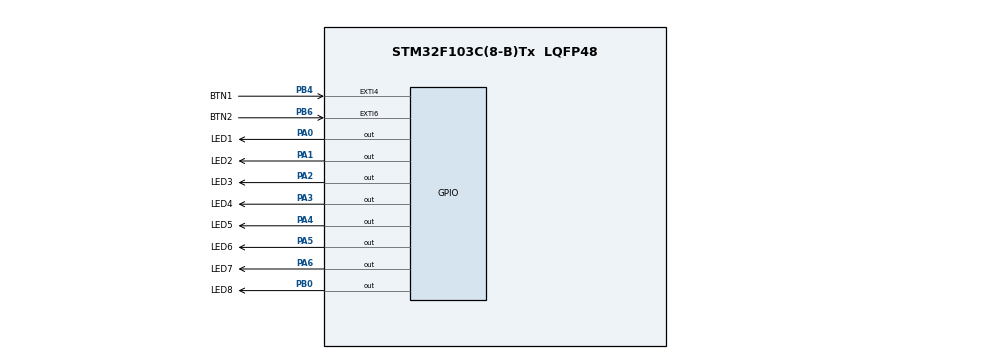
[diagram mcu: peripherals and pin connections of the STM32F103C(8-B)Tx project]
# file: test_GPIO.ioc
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Mcu.Family=STM32F1
Mcu.Name=STM32F103C(8-B)Tx
Mcu.Package=LQFP48
NVIC.EXTI4_IRQn=true\:0\:0\:false\:false\:true\:true\:true
NVIC.EXTI9_5_IRQn=true\:0\:0\:false\:false\:true\:true\:true
NVIC.PriorityGroup=NVIC_PRIORITYGROUP_4
PA0-WKUP.GPIO_Label=LED1
PA0-WKUP.Signal=GPIO_Output
PA1.GPIO_Label=LED2
PA1.Signal=GPIO_Output
PA13.Mode=Serial_Wire
PA13.Signal=SYS_JTMS-SWDIO
PA14.Mode=Serial_Wire
PA14.Signal=SYS_JTCK-SWCLK
PA2.GPIO_Label=LED3
PA2.Signal=GPIO_Output
PA3.GPIO_Label=LED4
PA3.Signal=GPIO_Output
PA4.GPIO_Label=LED5
PA4.Signal=GPIO_Output
PA5.GPIO_Label=LED6
PA5.Signal=GPIO_Output
PA6.GPIO_Label=LED7
PA6.Signal=GPIO_Output
PB0.GPIO_Label=LED8
PB0.Signal=GPIO_Output
PB4.GPIO_Label=BTN1
PB4.GPIO_ModeDefaultEXTI=GPIO_MODE_IT_FALLING
PB4.GPIO_PuPd=GPIO_PULLUP
PB4.Signal=GPXTI4
PB6.GPIO_Label=BTN2
PB6.GPIO_ModeDefaultEXTI=GPIO_MODE_IT_FALLING
PB6.GPIO_PuPd=GPIO_PULLUP
PB6.Signal=GPXTI6
ProjectManager.HeapSize=0x200
ProjectManager.StackSize=0x400
ProjectManager.TargetToolchain=STM32CubeIDE
RCC.APB1Freq_Value=8000000
RCC.APB2Freq_Value=8000000
board=custom

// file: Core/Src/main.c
/* USER CODE BEGIN Header */
/**
  ******************************************************************************
  * @file           : main.c
  * @brief          : Main program body
  ******************************************************************************
  * @attention
  *
  * <h2><center>&copy; Copyright (c) 2020 STMicroelectronics.
  * All rights reserved.</center></h2>
  *
  * This software component is licensed by ST under BSD 3-Clause license,
  * the "License"; You may not use this file except in compliance with the
  * License. You may obtain a copy of the License at:
  *                        opensource.org/licenses/BSD-3-Clause
  *
  ******************************************************************************
  */
/* USER CODE END Header */
#include "main.h"

/* USER CODE BEGIN PV */
uint8_t testpin;
/* USER CODE END PV */

void SystemClock_Config(void);
static void MX_GPIO_Init(void);
/* USER CODE BEGIN PFP */
// Chỗ này là private function prototype
// em sẽ b�? nguyên hàm-- là tên hàm thôi
void Effect_1(void);
void Effect_2(void);
/* USER CODE END PFP */

/* USER CODE BEGIN 0 */
// Chỗ này có thể viết hàm ra, hoặc là chỗ CODE USER 4 -- phần interrupt đó
/* USER CODE END 0 */

int main(void)
{
  /* USER CODE BEGIN 1 */
	MX_GPIO_Init();
  /* USER CODE END 1 */

  /* MCU Configuration--------------------------------------------------------*/

  /* Reset of all peripherals, Initializes the Flash interface and the Systick. */
  HAL_Init();

  /* Configure the system clock */
  SystemClock_Config();

  /* Initialize all configured peripherals */
  MX_GPIO_Init();

  /* Infinite loop */
  while (1)
  {

    /* USER CODE BEGIN 3 */
	  // Viet vao day moi khong mat
	  if(testpin ==0)
	  {
	  	  HAL_GPIO_TogglePin(LED1_GPIO_Port, LED1_Pin);
	  	  HAL_GPIO_TogglePin(LED2_GPIO_Port, LED2_Pin);
	  	  HAL_GPIO_TogglePin(LED3_GPIO_Port, LED3_Pin);
	  	  HAL_GPIO_TogglePin(LED4_GPIO_Port, LED4_Pin);
	  	  HAL_GPIO_TogglePin(LED5_GPIO_Port, LED5_Pin);
	  	  HAL_GPIO_TogglePin(LED6_GPIO_Port, LED6_Pin);
	  	  HAL_GPIO_TogglePin(LED7_GPIO_Port, LED7_Pin);
	  	  HAL_GPIO_TogglePin(LED8_GPIO_Port, LED8_Pin);
	  	  HAL_Delay(100);
	  }
	  if (testpin == 1)
	  {
		  //testpin = 0;
		  // hieu ung 1
		  Effect_1();
	  }
	  if (testpin == 2)
	  {
		  //testpin = 0;
		  // hieu ung 2
		  Effect_2();
	  }
  }
  /* USER CODE END 3 */
}

void SystemClock_Config(void)
{
  RCC_OscInitTypeDef RCC_OscInitStruct = {0};
  RCC_ClkInitTypeDef RCC_ClkInitStruct = {0};

  /** Initializes the RCC Oscillators according to the specified parameters
  * in the RCC_OscInitTypeDef structure.
  */
  RCC_OscInitStruct.OscillatorType = RCC_OSCILLATORTYPE_HSI;
  RCC_OscInitStruct.HSIState = RCC_HSI_ON;
  RCC_OscInitStruct.HSICalibrationValue = RCC_HSICALIBRATION_DEFAULT;
  RCC_OscInitStruct.PLL.PLLState = RCC_PLL_NONE;
  if (HAL_RCC_OscConfig(&RCC_OscInitStruct) != HAL_OK)
  {
    Error_Handler();
  }
  /** Initializes the CPU, AHB and APB buses clocks
  */
  RCC_ClkInitStruct.ClockType = RCC_CLOCKTYPE_HCLK|RCC_CLOCKTYPE_SYSCLK
                              |RCC_CLOCKTYPE_PCLK1|RCC_CLOCKTYPE_PCLK2;
  RCC_ClkInitStruct.SYSCLKSource = RCC_SYSCLKSOURCE_HSI;
  RCC_ClkInitStruct.AHBCLKDivider = RCC_SYSCLK_DIV1;
  RCC_ClkInitStruct.APB1CLKDivider = RCC_HCLK_DIV1;
  RCC_ClkInitStruct.APB2CLKDivider = RCC_HCLK_DIV1;

  if (HAL_RCC_ClockConfig(&RCC_ClkInitStruct, FLASH_LATENCY_0) != HAL_OK)
  {
    Error_Handler();
  }
}

static void MX_GPIO_Init(void)
{
  GPIO_InitTypeDef GPIO_InitStruct = {0};

  /* GPIO Ports Clock Enable */
  __HAL_RCC_GPIOA_CLK_ENABLE();
  __HAL_RCC_GPIOB_CLK_ENABLE();

  /*Configure GPIO pin Output Level */
  HAL_GPIO_WritePin(GPIOA, LED1_Pin|LED2_Pin|LED3_Pin|LED4_Pin
                          |LED5_Pin|LED6_Pin|LED7_Pin, GPIO_PIN_RESET);

  /*Configure GPIO pin Output Level */
  HAL_GPIO_WritePin(LED8_GPIO_Port, LED8_Pin, GPIO_PIN_RESET);

  /*Configure GPIO pins : LED1_Pin LED2_Pin LED3_Pin LED4_Pin
                           LED5_Pin LED6_Pin LED7_Pin */
  GPIO_InitStruct.Pin = LED1_Pin|LED2_Pin|LED3_Pin|LED4_Pin
                          |LED5_Pin|LED6_Pin|LED7_Pin;
  GPIO_InitStruct.Mode = GPIO_MODE_OUTPUT_PP;
  GPIO_InitStruct.Pull = GPIO_NOPULL;
  GPIO_InitStruct.Speed = GPIO_SPEED_FREQ_LOW;
  HAL_GPIO_Init(GPIOA, &GPIO_InitStruct);

  /*Configure GPIO pin : LED8_Pin */
  GPIO_InitStruct.Pin = LED8_Pin;
  GPIO_InitStruct.Mode = GPIO_MODE_OUTPUT_PP;
  GPIO_InitStruct.Pull = GPIO_NOPULL;
  GPIO_InitStruct.Speed = GPIO_SPEED_FREQ_LOW;
  HAL_GPIO_Init(LED8_GPIO_Port, &GPIO_InitStruct);

  /*Configure GPIO pins : BTN1_Pin BTN2_Pin */
  GPIO_InitStruct.Pin = BTN1_Pin|BTN2_Pin;
  GPIO_InitStruct.Mode = GPIO_MODE_IT_FALLING;
  GPIO_InitStruct.Pull = GPIO_PULLUP;
  HAL_GPIO_Init(GPIOB, &GPIO_InitStruct);

  /* EXTI interrupt init*/
  HAL_NVIC_SetPriority(EXTI4_IRQn, 0, 0);
  HAL_NVIC_EnableIRQ(EXTI4_IRQn);

  HAL_NVIC_SetPriority(EXTI9_5_IRQn, 0, 0);
  HAL_NVIC_EnableIRQ(EXTI9_5_IRQn);

}

/* USER CODE BEGIN 4 */
void HAL_GPIO_EXTI_Callback(uint16_t GPIO_Pin)
{
	testpin =0;
	if(GPIO_Pin == BTN1_Pin)
	{
		testpin = 1;
	}
	if(GPIO_Pin == BTN2_Pin)
	{

		testpin = 2;
	}
}

void Effect_1(void)
{
	  HAL_GPIO_TogglePin(LED1_GPIO_Port, LED1_Pin);
	  HAL_Delay(100);
	  HAL_GPIO_TogglePin(LED2_GPIO_Port, LED2_Pin);
	  HAL_Delay(100);
	  HAL_GPIO_TogglePin(LED3_GPIO_Port, LED3_Pin);
	  HAL_Delay(100);
	  HAL_GPIO_TogglePin(LED4_GPIO_Port, LED4_Pin);
	  HAL_Delay(100);
	  HAL_GPIO_TogglePin(LED5_GPIO_Port, LED5_Pin);
	  HAL_Delay(100);
	  HAL_GPIO_TogglePin(LED6_GPIO_Port, LED6_Pin);
	  HAL_Delay(100);
	  HAL_GPIO_TogglePin(LED7_GPIO_Port, LED7_Pin);
	  HAL_Delay(100);
	  HAL_GPIO_TogglePin(LED8_GPIO_Port, LED8_Pin);
	  HAL_Delay(100);
}

void Effect_2(void)
{
	HAL_GPIO_WritePin(LED1_GPIO_Port, LED1_Pin, GPIO_PIN_SET);
	HAL_GPIO_WritePin(LED2_GPIO_Port, LED2_Pin, GPIO_PIN_SET);
	HAL_GPIO_WritePin(LED3_GPIO_Port, LED3_Pin, GPIO_PIN_SET);
	HAL_GPIO_WritePin(LED4_GPIO_Port, LED4_Pin, GPIO_PIN_SET);
	HAL_GPIO_WritePin(LED5_GPIO_Port, LED5_Pin, GPIO_PIN_SET);
	HAL_GPIO_WritePin(LED6_GPIO_Port, LED6_Pin, GPIO_PIN_SET);
	HAL_GPIO_WritePin(LED7_GPIO_Port, LED7_Pin, GPIO_PIN_SET);
	HAL_GPIO_WritePin(LED8_GPIO_Port, LED8_Pin, GPIO_PIN_SET);

}

/* USER CODE END 4 */

void Error_Handler(void)
{
}

/************************ (C) COPYRIGHT STMicroelectronics *****END OF FILE****/
